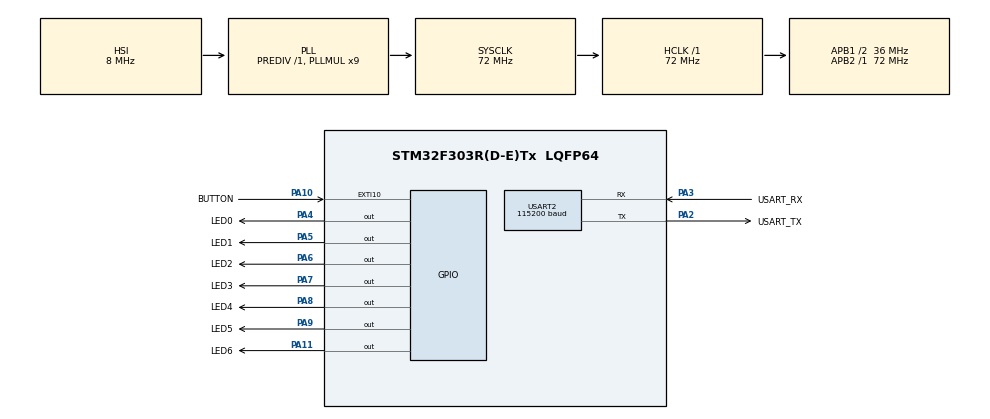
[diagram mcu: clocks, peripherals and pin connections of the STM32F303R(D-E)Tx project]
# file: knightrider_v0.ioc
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Dma.Request0=TIM6_UP
Dma.TIM6_UP.0.Direction=DMA_MEMORY_TO_PERIPH
Dma.TIM6_UP.0.Instance=DMA1_Channel3
Dma.TIM6_UP.0.MemDataAlignment=DMA_MDATAALIGN_WORD
Dma.TIM6_UP.0.MemInc=DMA_MINC_ENABLE
Dma.TIM6_UP.0.Mode=DMA_CIRCULAR
Dma.TIM6_UP.0.PeriphDataAlignment=DMA_PDATAALIGN_WORD
Dma.TIM6_UP.0.PeriphInc=DMA_PINC_DISABLE
Dma.TIM6_UP.0.Priority=DMA_PRIORITY_VERY_HIGH
Mcu.Family=STM32F3
Mcu.Name=STM32F303R(D-E)Tx
Mcu.Package=LQFP64
NVIC.DMA1_Channel3_IRQn=true\:0\:0\:false\:false\:true\:false\:true\:true
NVIC.EXTI15_10_IRQn=true\:0\:0\:false\:false\:true\:true\:true\:true
NVIC.PriorityGroup=NVIC_PRIORITYGROUP_0
NVIC.USART2_IRQn=true\:0\:0\:false\:false\:true\:true\:true\:true
PA0.Mode=SYS_WakeUp0
PA0.Signal=SYS_WKUP1
PA10.GPIO_Label=BUTTON
PA10.GPIO_ModeDefaultEXTI=GPIO_MODE_IT_RISING
PA10.GPIO_PuPd=GPIO_PULLDOWN
PA10.Signal=GPXTI10
PA11.GPIO_Label=LED6
PA11.Signal=GPIO_Output
PA13.GPIO_Label=TMS
PA13.Mode=Serial_Wire
PA13.Signal=SYS_JTMS-SWDIO
PA14.GPIO_Label=TCK
PA14.Mode=Serial_Wire
PA14.Signal=SYS_JTCK-SWCLK
PA2.GPIO_Label=USART_TX
PA2.GPIO_Mode=GPIO_MODE_AF_PP
PA2.GPIO_PuPd=GPIO_NOPULL
PA2.GPIO_Speed=GPIO_SPEED_FREQ_LOW
PA2.Mode=Asynchronous
PA2.Signal=USART2_TX
PA3.GPIO_Label=USART_RX
PA3.GPIO_Mode=GPIO_MODE_AF_PP
PA3.GPIO_PuPd=GPIO_NOPULL
PA3.GPIO_Speed=GPIO_SPEED_FREQ_LOW
PA3.Mode=Asynchronous
PA3.Signal=USART2_RX
PA4.GPIO_Label=LED0
PA4.Signal=GPIO_Output
PA5.GPIO_Label=LED1
PA5.GPIO_Mode=GPIO_MODE_OUTPUT_PP
PA5.GPIO_PuPd=GPIO_NOPULL
PA5.GPIO_Speed=GPIO_SPEED_FREQ_LOW
PA5.Signal=GPIO_Output
PA6.GPIO_Label=LED2
PA6.Signal=GPIO_Output
PA7.GPIO_Label=LED3
PA7.Signal=GPIO_Output
PA8.GPIO_Label=LED4
PA8.Signal=GPIO_Output
PA9.GPIO_Label=LED5
PA9.Signal=GPIO_Output
PB3.GPIO_Label=SWO
PB3.Signal=SYS_JTDO-TRACESWO
PC14-OSC32_IN.Mode=LSE-External-Oscillator
PC14-OSC32_IN.Signal=RCC_OSC32_IN
PC15-OSC32_OUT.Mode=LSE-External-Oscillator
PC15-OSC32_OUT.Signal=RCC_OSC32_OUT
PF0-OSC_IN.Mode=HSE-External-Clock-Source
PF0-OSC_IN.Signal=RCC_OSC_IN
PF1-OSC_OUT.Signal=RCC_OSC_OUT
ProjectManager.HeapSize=0x200
ProjectManager.StackSize=0x400
ProjectManager.TargetToolchain=STM32CubeIDE
RCC.AHBFreq_Value=72000000
RCC.APB1CLKDivider=RCC_HCLK_DIV2
RCC.APB1Freq_Value=36000000
RCC.APB1TimFreq_Value=72000000
RCC.APB2Freq_Value=72000000
RCC.APB2TimFreq_Value=72000000
RCC.CortexFreq_Value=72000000
RCC.HCLKFreq_Value=72000000
RCC.HSE_VALUE=8000000
RCC.HSI_VALUE=8000000
RCC.PLLM=8
RCC.PLLMUL=RCC_PLL_MUL9
RCC.PLLN=336
RCC.PLLP=RCC_PLLP_DIV4
RCC.PLLQ=7
RCC.RCC_PLLsource_Clock_Source_FROM_HSE=RCC_HSE_PREDIV_DIV2
RCC.SYSCLKFreq_VALUE=72000000
RCC.SYSCLKSourceVirtual=RCC_SYSCLKSOURCE_PLLCLK
RCC.USBFreq_Value=72000000
TIM6.AutoReloadPreload=TIM_AUTORELOAD_PRELOAD_ENABLE
TIM6.Period=5
USART2.BaudRate=115200
USART2.VirtualMode-Asynchronous=VM_ASYNC
VP_TIM6_VS_ClockSourceINT.Mode=Enable_Timer
board=NUCLEO-F303RE

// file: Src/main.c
/* USER CODE BEGIN Header */
/**
 ******************************************************************************
 * @file           : main.c
 * @brief          : Main program body
 ******************************************************************************
 * @attention
 *
 * Copyright (c) 2025 STMicroelectronics.
 * All rights reserved.
 *
 * This software is licensed under terms that can be found in the LICENSE file
 * in the root directory of this software component.
 * If no LICENSE file comes with this software, it is provided AS-IS.
 *
 ******************************************************************************
 */
/* USER CODE END Header */
#include "main.h"

/* USER CODE BEGIN Includes */
#include <string.h>
#include <ctype.h>
#include <stdio.h>
#include <stdlib.h>
#include "timer.h"
#include "tokenator.h"
#include "freq_switcher.h"
#include "commander.h"
/* USER CODE END Includes */

/* USER CODE BEGIN PD */
#define mainUART_RECEIVE_BUFFER_SIZE 50 // UART receive buffer size

// comment/uncomment the following line to toggle standby low-power mode usage
// #define USE_BATERRY
/* USER CODE END PD */

TIM_HandleTypeDef htim6;
DMA_HandleTypeDef hdma_tim6_up;

UART_HandleTypeDef huart2;

/* USER CODE BEGIN PV */
static char pcUartReceivedBuffer[mainUART_RECEIVE_BUFFER_SIZE]; // UART 2 receive buffer
static unsigned int uiUartReceivedBufferIndex = 0;
static int iUartReceivedBufferComplete = 0;
/* USER CODE END PV */

void SystemClock_Config(void);
static void MX_GPIO_Init(void);
static void MX_DMA_Init(void);
static void MX_TIM6_Init(void);
static void MX_USART2_UART_Init(void);

/* USER CODE BEGIN 0 */
/**
 * @brief HAL GPIO external interrupt callback
 *
 * @param	GPIO_Pin Pin which interrupted MCU
 */
void HAL_GPIO_EXTI_Callback(uint16_t GPIO_Pin) {
	// check if interrupt comes from button pin
	if (GPIO_Pin == BUTTON_Pin) {
		// update mode
		FREQ_SWITCHER_NextMode();
#ifdef USE_BATERRY
		// if new mode is 0
		if (FREQ_SWITCHER_GetMode() == 0) {
			// enter standby mode
			__HAL_PWR_CLEAR_FLAG(PWR_FLAG_WU);

			HAL_PWR_EnableWakeUpPin(PWR_WAKEUP_PIN1);
			HAL_PWR_EnterSTANDBYMode();
		}
#endif
	}
}

/**
 * @brief HAL UART interrupt callback
 *
 * @param pxHuart	UART instance which interrupted the MCU
 */
void HAL_UART_RxCpltCallback(UART_HandleTypeDef *pxHuart) {
	// check if interrupt comes from UART2
	if (pxHuart->Instance == USART2) {
		// make character lower
		pcUartReceivedBuffer[uiUartReceivedBufferIndex] = (char) tolower(
				pcUartReceivedBuffer[uiUartReceivedBufferIndex]);

		// if newline received
		if (pcUartReceivedBuffer[uiUartReceivedBufferIndex] == '\n') {
			// store end of string to received buffer
			pcUartReceivedBuffer[uiUartReceivedBufferIndex] = '\0';

			// mark buffer as complete
			iUartReceivedBufferComplete = 1;

			// reset buffer iterator
			uiUartReceivedBufferIndex = 0;
		}
		// ignore carriage return
		else if (pcUartReceivedBuffer[uiUartReceivedBufferIndex] != '\r')
			uiUartReceivedBufferIndex++;

		// receive next character
		HAL_UART_Receive_IT(&huart2,
				(uint8_t*) &pcUartReceivedBuffer[uiUartReceivedBufferIndex], 1);
	}
}

/*
 * 	Start help command
 */

/**
 * @brief Help command function
 *
 * @param				Unused
 * @param 				Unused
 * @param pcReply		Help command reply destination
 * @param uiReplySize	Help command reply destination length
 */
static void COMMANDER_CommandHelp(const TOKENATOR_Token[4], unsigned int,
		char *const pcReply, const unsigned int uiReplySize) {
	// copy help
	strncpy(pcReply, "Help: \r\n"
			"commands: \r\n"
			"help:\t\t show this help\r\n"
			"read <variable>:\t read variable value\r\n"
			"set <variable> <value>:\t set variable to value\r\n"
			"restart:\t\t restart loop\r\n"
			"\r\n"
			"Command line is NOT case sensitive \r\n", uiReplySize);
}
/*
 * End help command
 */

/*
 * Start read command
 */

/**
 * @brief Show read command usage
 *
 * @param pcMessage		Additional message which will be copied to pcReply (NULL for none)
 * @param pcReply		Read command usage reply destination
 * @param uiReplySize	Read command usage reply destination length
 */
static void COMMANDER_ReadShowUsage(const char *const pcMessage,
		char *const pcReply, const unsigned int uiReplySize) {
	char pcBuf[500];

	// if no message provided
	if (pcMessage == NULL)
		// setup reply to have zero length
		pcReply[0] = '\0';
	else
		// else copy message to reply
		strncpy(pcReply, pcMessage, uiReplySize);

	// print usage to pcBuf
	snprintf(pcBuf, sizeof(pcBuf), "Usage: 'read <variable-name>' \r\n"
			"Reads variable value \r\n"
			"Available keywords: \r\n"
			"\tall:\t\tAll variables\r\n"

			"\tmode:\t\tCurrent blinking mode\r\n"

			"\tfreq:\t\tCurrent frequency\r\n"
			"\tprescaller:\t\tCurrent mode prescaller"
			"\tperiod:\t\tCurrent mode period"

			"\tmode<mode-id>.freq:\t\tFrequency in mode\r\n"
			"\tmode<mode-id>.prescaller:\t\tPrescaller value in given mode\r\n"
			"\tmode<mode-id>.period:\t\tPeriod value in given mode\r\n"

			"Range of variables:\r\n"
			"mode:\t\t0..%d\r\n",
	freq_switcherMODE_COUNT);

	// append pcBuf to pcReply
	strncat(pcReply, pcBuf, uiReplySize);
}

/**
 * @brief Read command function
 *
 * @param ppcTokens		Read command arguments
 * @param uiTokenCount	Read command argument count
 * @param pcReply		Read command reply destination
 * @param uiReplySize	Read command reply destination size
 */
static void COMMANDER_CommandRead(const TOKENATOR_Token ppcTokens[4],
		const unsigned int uiTokenCount, char *const pcReply,
		const unsigned int uiReplySize) {

	// check if one argument passed
	if (uiTokenCount == 2) {
		// send mode
		if (strcmp(ppcTokens[1], "mode") == 0) {
			snprintf(pcReply, uiReplySize, "Mode: %d\r\n",
					FREQ_SWITCHER_GetMode());
		}
		// send all variables
		else if (strcmp(ppcTokens[1], "all") == 0) {
			// print mode
			snprintf(pcReply, uiReplySize, "Mode: %d\r\n"
					"\r\n", FREQ_SWITCHER_GetMode());

			// iterate over mode configurations
			for (unsigned int uiMode = 0; uiMode < freq_switcherMODE_COUNT;
					uiMode++) {
				char pcBuf[80];

				// read timer configuration
				const TimerConfig_t xTimerCfg = FREQ_SWITCHER_GetConfig(uiMode);

				// print configuration details
				snprintf(pcBuf, sizeof(pcBuf), "Mode %d\r\n"
						"Frequency: %lg\r\n"
						"Prescaller: %u\r\n"
						"Period: %u\r\n"
						"\r\n", uiMode,
						(double) SystemCoreClock
								/ (double) (xTimerCfg.uiPrescaller + 1)
								/ (double) (xTimerCfg.uiPeriod + 1),
						xTimerCfg.uiPrescaller, xTimerCfg.uiPeriod);

				// append configuration details to reply
				strncat(pcReply, pcBuf, uiReplySize);
			}
		}
		// send prescaller
		else if (strcmp(ppcTokens[1], "prescaller") == 0) {
			// receive current configuration
			const TimerConfig_t xTimerCfg = FREQ_SWITCHER_GetConfig(
					FREQ_SWITCHER_GetMode());

			// send prescaller
			snprintf(pcReply, uiReplySize, "Prescaller: %u\r\n",
					xTimerCfg.uiPrescaller);
		}
		// send period
		else if (strcmp(ppcTokens[1], "period") == 0) {
			// receive current configuration
			const TimerConfig_t xTimerCfg = FREQ_SWITCHER_GetConfig(
					FREQ_SWITCHER_GetMode());

			// send period
			snprintf(pcReply, uiReplySize, "Period: %u\r\n",
					xTimerCfg.uiPeriod);
		}
		// send frequency
		else if (strcmp(ppcTokens[1], "freq") == 0) {
			// receive current configuration
			const TimerConfig_t xTimerCfg = FREQ_SWITCHER_GetConfig(
					FREQ_SWITCHER_GetMode());

			// send frequency
			snprintf(pcReply, uiReplySize, "Frequency: %lg\r\n",
					(float) SystemCoreClock
							/ (double) (xTimerCfg.uiPrescaller + 1)
							/ (double) (xTimerCfg.uiPeriod + 1));
		}
		// send settings in mode
		else {
			TOKENATOR_Token ppcModeTokens[3] = { };

			// split additional arguments to tokens
			const unsigned int uiModeTokenCount = TOKENATOR_IntoTokens(
					ppcTokens[1], ppcModeTokens, 3, '_');

			// if user typed mode_<id>.<something>
			if (uiModeTokenCount == 2
					&& strcmp(ppcModeTokens[0], "mode") == 0) {
				char *pcEnd;

				// split mode_<id> to 'mode' '<id>'
				const unsigned int uiMode = (unsigned int) strtol(
						ppcModeTokens[1], &pcEnd, 10);

				// if user typed only mode
				if (pcEnd == ppcModeTokens[1]) {
					// send error message and usage
					COMMANDER_ReadShowUsage("Variable not found\r\n", pcReply,
							uiReplySize);
				}
				// if mode is not out out of bonds
				else if (uiMode < freq_switcherMODE_COUNT) {
					// receive current configuration
					const TimerConfig_t xTimerCfg = FREQ_SWITCHER_GetConfig(
							uiMode);

					TOKENATOR_Token ppcModeTokens[2] = { };

					// split mode_<id>.<something> to 'mode_<id>' and '<something>'
					const unsigned int uiModeTokenCount = TOKENATOR_IntoTokens(
							ppcTokens[1], ppcModeTokens, 2, '.');

					// if user typed 'all' or just 'mode_<id>'
					if (uiModeTokenCount == 1
							|| strcmp(ppcModeTokens[1], "all") == 0) {
						// print all variables
						snprintf(pcReply, uiReplySize, "Frequency: %lg\r\n"
								"Prescaller: %u\r\n"
								"Period: %u\r\n",
								(double) SystemCoreClock
										/ (double) (xTimerCfg.uiPrescaller + 1)
										/ (double) (xTimerCfg.uiPeriod + 1),
								xTimerCfg.uiPrescaller, xTimerCfg.uiPeriod);
					}
					// if user typed 'mode_<id>.freq'
					else if (strcmp(ppcModeTokens[1], "freq") == 0) {
						// print frequency
						snprintf(pcReply, uiReplySize, "Frequency: %lg\r\n",
								(float) SystemCoreClock
										/ (double) (xTimerCfg.uiPrescaller + 1)
										/ (double) (xTimerCfg.uiPeriod + 1));
					}
					// if user typed 'mode_<id>.period'
					else if (strcmp(ppcModeTokens[1], "period") == 0) {
						// print period
						snprintf(pcReply, uiReplySize, "Period: %u\r\n",
								xTimerCfg.uiPeriod);
					}
					// if user typed 'mode_<id>.prescaller'
					else if (strcmp(ppcModeTokens[1], "prescaller") == 0) {
						// send prescaller
						snprintf(pcReply, uiReplySize, "Prescaller: %u\r\n",
								xTimerCfg.uiPrescaller);
					}
					// if user typed anything else
					else {
						// print error message and usage
						COMMANDER_ReadShowUsage("Variable not found\r\n",
								pcReply, uiReplySize);
					}
				}
			}
			// send error message and usage
			else {
				COMMANDER_ReadShowUsage("Variable not found\r\n", pcReply,
						uiReplySize);
			}
		}
	}
	// send usage if no arguments provided
	else {
		COMMANDER_ReadShowUsage(NULL, pcReply, uiReplySize);
	}
}
/*
 * End read command
 */

/*
 * Start restart command
 */
/**
 * @brief Restart command
 *
 * @param 				Unused
 * @param uiTokenCount	Restart command argument count (used for detection: no arguments received/some arguments received => print help)
 * @param pcReply		Restart command usage reply destination
 * @param uiReplySize	Restart command usage reply destination size
 */
static void COMMANDER_CommandRestart(const TOKENATOR_Token[4],
		unsigned int uiTokenCount, char *const pcReply,
		const unsigned int uiReplySize) {
	// check if no parameters provided
	if (uiTokenCount == 1) {
		// restart timer/counter
		FREQ_SWITCHER_SetMode(FREQ_SWITCHER_GetMode());
		strncpy(pcReply, "Restarted tim6\r\n", uiReplySize);
	}
	// show usage
	else {
		strncpy(pcReply,
				"Usage: 'restart'\r\n"
						"Restarts tim6 and starts blinking with LEDs from beginning.\r\n",
				uiReplySize);
	}
}
/*
 * End restart command
 */

/*
 * Start set command
 */

/**
 * @brief Show set command usage
 *
 * @param pcMessage		Additional message for user
 * @param pcReply		Command set reply destination
 * @param uiReplySize	Command set reply destination size
 */
static void COMMANDER_SetShowUsage(const char *const pcMessage,
		char *const pcReply, const unsigned int uiReplySize) {
	char pcBuf[550];

	// if no message provided
	if (pcMessage == NULL)
		// mark string as empty
		pcReply[0] = '\0';
	else
		// copy message
		strncpy(pcReply, pcMessage, uiReplySize);

	// print usage
	snprintf(pcBuf, sizeof(pcBuf),
			"Usage: 'set <variable-name> <new-value>' \r\n"
					"Sets variable to new value \r\n"
					"Available keywords: \r\n"

					"\tmode <new-mode>:\t\tUpdate current blinking mode to new mode\r\n"

					"\tprescaller <new-value>:\t\tUpdate current mode prescaller to new value\r\n"
					"\tperiod <new-value>:\t\tUpdate current mode period to new value\r\n"

					"\tmode<mode-id>.prescaller <new-value>:\t\tUpdate prescaller value in given mode to new value\r\n"
					"\tmode<mode-id>.period <new-value>:\t\tUpdate period value in given mode to new value\r\n"

					"Range of variables:\r\n"
					"mode:\t\t0..%d\r\n"
					"prescaller:\t\t0..=%d\r\n"
					"period:\t\t0..=%d\r\n",
			freq_switcherMODE_COUNT,
			timerMAX_PRESCALLER,
			timerMAX_PERIOD);

	// append usage to reply
	strncat(pcReply, pcBuf, uiReplySize);
}

/**
 * @brief Set command
 *
 * @param ppcTokens		Set command arguments
 * @param uiTokenCount	Set command argument count
 * @param pcReply		Set command reply destination
 * @param uiReplySize	Set command reply destination size
 */
static void COMMANDER_CommandSet(const TOKENATOR_Token ppcTokens[4],
		const unsigned int uiTokenCount, char *const pcReply,
		const unsigned int uiReplySize) {

	// check if user typed '<variable-name> <new-value>'
	if (uiTokenCount == 3) {
		// if user typed 'mode <new-mode>'
		if (strcmp(ppcTokens[1], "mode") == 0) {
			char *pcEnd = NULL;

			// get user input
			const long lInput = strtol(ppcTokens[2], &pcEnd, 10);

			// if user typed value in allowed range
			if (lInput
					>= 0&&
					pcEnd[0] == '\0' && (unsigned int) lInput <= freq_switcherMODE_COUNT) {
				// update mode
				FREQ_SWITCHER_SetMode((unsigned int) lInput);

				// send reply
				strncpy(pcReply, "Mode updated successfully\r\n", uiReplySize);
			} else {
				// send error message
				snprintf(pcReply, uiReplySize,
						"Mode out of bonds (0 <= mode < %d)\r\n",
						freq_switcherMODE_COUNT);
			}
		}
		// if user typed 'prescaller <new-value>'
		else if (strcmp(ppcTokens[1], "prescaller") == 0) {
			char *pcEnd = NULL;

			// get user input
			const long lInput = strtol(ppcTokens[2], &pcEnd, 10);

			// if input is in allowed range
			if (lInput >= 0&& pcEnd[0] == '\0'
			&& (unsigned int) lInput <= timerMAX_PRESCALLER) {
				// obtain current mode configuration
				TimerConfig_t xTimerCfg = FREQ_SWITCHER_GetConfig(
						FREQ_SWITCHER_GetMode());

				// update current mode configuration
				xTimerCfg.uiPrescaller = (unsigned int) lInput;
				FREQ_SWITCHER_SetConfig(FREQ_SWITCHER_GetMode(), xTimerCfg);

				// send reply
				strncpy(pcReply, "Prescaller updated successfully\r\n",
						uiReplySize);
			} else {
				// send error message
				snprintf(pcReply, uiReplySize,
						"Prescaller out of bonds (0 <= mode < %d)\r\n",
						timerMAX_PRESCALLER);
			}
		}
		// if user typed 'period <new-value>'
		else if (strcmp(ppcTokens[1], "period") == 0) {
			char *pcEnd = NULL;

			// read user input
			const long lInput = strtol(ppcTokens[2], &pcEnd, 10);

			// if input is in allowed range
			if (lInput >= 0&& pcEnd[0] == '\0'
			&& (unsigned int) lInput < timerMAX_PRESCALLER) {
				// get current configuration
				TimerConfig_t xTimerCfg = FREQ_SWITCHER_GetConfig(
						FREQ_SWITCHER_GetMode());

				// update current configuration
				xTimerCfg.uiPeriod = (unsigned int) lInput;
				FREQ_SWITCHER_SetConfig(FREQ_SWITCHER_GetMode(), xTimerCfg);

				// send reply
				strncpy(pcReply, "Period updated successfully\r\n",
						uiReplySize);
			} else {
				// send error message
				snprintf(pcReply, uiReplySize,
						"Period out of bonds (0 <= mode < %d)\r\n",
						timerMAX_PERIOD);
			}
		} else {
			TOKENATOR_Token ppcModeTokens[2] = { };

			// split variable name to tokens by '_'
			const unsigned int uiModeTokenCount = TOKENATOR_IntoTokens(
					ppcTokens[1], ppcModeTokens, 2, '_');

			// if variable name is 'mode_<something>'
			if (uiModeTokenCount == 2
					&& strcmp(ppcModeTokens[0], "mode") == 0) {
				char *pcEnd;

				// get mode id from variable name
				const unsigned int uiMode = (unsigned int) strtol(
						ppcModeTokens[1], &pcEnd, 10);

				// if mode is not out of bonds
				if (uiMode < freq_switcherMODE_COUNT
						&& pcEnd != ppcModeTokens[1]) {
					TOKENATOR_Token ppcModeTokens[2] = { };

					// extract '<something>' from 'mode_<mode-id>.<something>'
					const unsigned int uiModeTokenCount = TOKENATOR_IntoTokens(
							ppcTokens[1], ppcModeTokens, 2, '.');

					// if succeeded extraction '<something>' from 'mode_<mode-id>.<something>'
					if (uiModeTokenCount == 2) {
						// if user typed 'mode<mode-id>.period <new-period>'
						if (strcmp(ppcModeTokens[1], "period") == 0) {
							char *pcEnd = NULL;

							// obtain new period value
							const long lInput = strtol(ppcTokens[2], &pcEnd,
									10);

							// check if period value is not out of bonds
							if (lInput >= 0&& pcEnd[0] == '\0'
							&& (unsigned int) lInput <= timerMAX_PERIOD) {
								// get mode configuration
								TimerConfig_t xTimerCfg =
										FREQ_SWITCHER_GetConfig(uiMode);

								// update mode configuration
								xTimerCfg.uiPeriod = (unsigned int) lInput;
								FREQ_SWITCHER_SetConfig(uiMode, xTimerCfg);

								// send reply
								strncpy(pcReply,
										"Period updated successfully\r\n",
										uiReplySize);
							} else {
								// send error message
								snprintf(pcReply, uiReplySize,
										"Period out of bonds (0 <= mode < %d)\r\n",
										timerMAX_PERIOD);
							}
						}
						// if user typed 'mode<mode-id>.prescaller <new-period>'
						else if (strcmp(ppcModeTokens[1], "prescaller") == 0) {
							char *pcEnd = NULL;

							// extract new prescaller value
							const long lInput = strtol(ppcTokens[2], &pcEnd,
									10);

							// check if new prescaller value is not out of bonds
							if (lInput
									>= 0&& pcEnd[0] == '\0'
									&& (unsigned int) lInput <= timerMAX_PRESCALLER) {
								// get mode configuration
								TimerConfig_t xTimerCfg =
										FREQ_SWITCHER_GetConfig(uiMode);

								// update mode configuration
								xTimerCfg.uiPrescaller = (unsigned int) lInput;
								FREQ_SWITCHER_SetConfig(uiMode, xTimerCfg);

								// send reply
								strncpy(pcReply,
										"Period updated successfully\r\n",
										uiReplySize);
							} else {
								snprintf(pcReply, uiReplySize,
										"Period out of bonds (0 <= mode < %d)\r\n",
										timerMAX_PERIOD);
							}
						}
						// no matching variable found
						else {
							// send error message
							COMMANDER_SetShowUsage("Variable not found\r\n",
									pcReply, uiReplySize);
						}
					}
					// if extraction '<something>' from 'mode_<mode-id>.<something>' failed
					else {
						COMMANDER_SetShowUsage("Variable not found\r\n",
								pcReply, uiReplySize);
					}
				}
				// if extraction '<something>' from 'mode_<mode-id>.<something>' failed
				else {
					char pcBuf[50];

					snprintf(pcBuf, uiReplySize,
							"Error: Mode index out of bonds (allowed range: 0 <= freq index < %d)\r\n",
							freq_switcherMODE_COUNT);
					COMMANDER_SetShowUsage(pcBuf, pcReply, uiReplySize);
				}
			}
			// check if user did not type '<variable-name> <new-value>'
			else {
				// send error message
				COMMANDER_SetShowUsage("Variable not found\r\n", pcReply,
						uiReplySize);
			}
		}
	} else {
		COMMANDER_SetShowUsage(NULL, pcReply, uiReplySize);
	}
}
/*
 * End set command
 */

/* USER CODE END 0 */

int main(void)
{

  /* MCU Configuration--------------------------------------------------------*/

  /* Reset of all peripherals, Initializes the Flash interface and the Systick. */
  HAL_Init();

  /* Configure the system clock */
  SystemClock_Config();

  /* Initialize all configured peripherals */
  MX_GPIO_Init();
  MX_DMA_Init();
  MX_TIM6_Init();
  MX_USART2_UART_Init();
  /* USER CODE BEGIN 2 */
	// set blinking mode to 0
	FREQ_SWITCHER_SetMode(0);

	// receive characters from uart2
	HAL_UART_Receive_IT(&huart2, (uint8_t*) &pcUartReceivedBuffer[0], 1);

	// Disable SysTick interrupt
	// When enabled, this causes signal flickering
	HAL_SuspendTick();
  /* USER CODE END 2 */

  /* Infinite loop */
  /* USER CODE BEGIN WHILE */
	while (1) {
		// check if uart2 buffer is complete
		if (iUartReceivedBufferComplete) {
			char pcCommand[mainUART_RECEIVE_BUFFER_SIZE];
			char pcReply[600];

			// copy received buffer (what if another character arrived...)
			strncpy(pcCommand, pcUartReceivedBuffer,
			mainUART_RECEIVE_BUFFER_SIZE);

			// reset status of uart2 buffer
			iUartReceivedBufferComplete = 0;

			static const COMMANDER_CommandTable pxCommands = { {
					COMMANDER_CommandHelp, "help" }, { COMMANDER_CommandSet,
					"set" }, { COMMANDER_CommandRead, "read", }, {
					COMMANDER_CommandRestart, "restart" }, {
					(COMMANDER_Func) NULL, "" } };

			// run command
			COMMANDER_RunCommand(pcCommand, pcReply, sizeof(pcReply),
					pxCommands);

			// send command reply
			HAL_UART_Transmit_IT(&huart2, (uint8_t*) pcReply,
					(unsigned short int) strlen(pcReply));

			HAL_PWR_EnterSLEEPMode(PWR_LOWPOWERREGULATOR_ON,
			PWR_SLEEPENTRY_WFI);
		}
    /* USER CODE END WHILE */

	}
}

void SystemClock_Config(void)
{
  RCC_OscInitTypeDef RCC_OscInitStruct = {0};
  RCC_ClkInitTypeDef RCC_ClkInitStruct = {0};
  RCC_PeriphCLKInitTypeDef PeriphClkInit = {0};

  /** Initializes the RCC Oscillators according to the specified parameters
  * in the RCC_OscInitTypeDef structure.
  */
  RCC_OscInitStruct.OscillatorType = RCC_OSCILLATORTYPE_HSI;
  RCC_OscInitStruct.HSIState = RCC_HSI_ON;
  RCC_OscInitStruct.HSICalibrationValue = RCC_HSICALIBRATION_DEFAULT;
  RCC_OscInitStruct.PLL.PLLState = RCC_PLL_ON;
  RCC_OscInitStruct.PLL.PLLSource = RCC_PLLSOURCE_HSI;
  RCC_OscInitStruct.PLL.PLLMUL = RCC_PLL_MUL9;
  RCC_OscInitStruct.PLL.PREDIV = RCC_PREDIV_DIV1;
  if (HAL_RCC_OscConfig(&RCC_OscInitStruct) != HAL_OK)
  {
    Error_Handler();
  }

  /** Initializes the CPU, AHB and APB buses clocks
  */
  RCC_ClkInitStruct.ClockType = RCC_CLOCKTYPE_HCLK|RCC_CLOCKTYPE_SYSCLK
                              |RCC_CLOCKTYPE_PCLK1|RCC_CLOCKTYPE_PCLK2;
  RCC_ClkInitStruct.SYSCLKSource = RCC_SYSCLKSOURCE_PLLCLK;
  RCC_ClkInitStruct.AHBCLKDivider = RCC_SYSCLK_DIV1;
  RCC_ClkInitStruct.APB1CLKDivider = RCC_HCLK_DIV2;
  RCC_ClkInitStruct.APB2CLKDivider = RCC_HCLK_DIV1;

  if (HAL_RCC_ClockConfig(&RCC_ClkInitStruct, FLASH_LATENCY_2) != HAL_OK)
  {
    Error_Handler();
  }
  PeriphClkInit.PeriphClockSelection = RCC_PERIPHCLK_USART2;
  PeriphClkInit.Usart2ClockSelection = RCC_USART2CLKSOURCE_PCLK1;
  if (HAL_RCCEx_PeriphCLKConfig(&PeriphClkInit) != HAL_OK)
  {
    Error_Handler();
  }
}

static void MX_TIM6_Init(void)
{

  TIM_MasterConfigTypeDef sMasterConfig = {0};

  htim6.Instance = TIM6;
  htim6.Init.Prescaler = 0;
  htim6.Init.CounterMode = TIM_COUNTERMODE_UP;
  htim6.Init.Period = 5;
  htim6.Init.AutoReloadPreload = TIM_AUTORELOAD_PRELOAD_ENABLE;
  if (HAL_TIM_Base_Init(&htim6) != HAL_OK)
  {
    Error_Handler();
  }
  sMasterConfig.MasterOutputTrigger = TIM_TRGO_RESET;
  sMasterConfig.MasterSlaveMode = TIM_MASTERSLAVEMODE_DISABLE;
  if (HAL_TIMEx_MasterConfigSynchronization(&htim6, &sMasterConfig) != HAL_OK)
  {
    Error_Handler();
  }

}

static void MX_USART2_UART_Init(void)
{

  huart2.Instance = USART2;
  huart2.Init.BaudRate = 115200;
  huart2.Init.WordLength = UART_WORDLENGTH_8B;
  huart2.Init.StopBits = UART_STOPBITS_1;
  huart2.Init.Parity = UART_PARITY_NONE;
  huart2.Init.Mode = UART_MODE_TX_RX;
  huart2.Init.HwFlowCtl = UART_HWCONTROL_NONE;
  huart2.Init.OverSampling = UART_OVERSAMPLING_16;
  huart2.Init.OneBitSampling = UART_ONE_BIT_SAMPLE_DISABLE;
  huart2.AdvancedInit.AdvFeatureInit = UART_ADVFEATURE_NO_INIT;
  if (HAL_UART_Init(&huart2) != HAL_OK)
  {
    Error_Handler();
  }

}

static void MX_DMA_Init(void)
{

  /* DMA controller clock enable */
  __HAL_RCC_DMA1_CLK_ENABLE();

  /* DMA interrupt init */
  /* DMA1_Channel3_IRQn interrupt configuration */
  HAL_NVIC_SetPriority(DMA1_Channel3_IRQn, 0, 0);
  HAL_NVIC_EnableIRQ(DMA1_Channel3_IRQn);

}

static void MX_GPIO_Init(void)
{
  GPIO_InitTypeDef GPIO_InitStruct = {0};

  /* GPIO Ports Clock Enable */
  __HAL_RCC_GPIOC_CLK_ENABLE();
  __HAL_RCC_GPIOF_CLK_ENABLE();
  __HAL_RCC_GPIOA_CLK_ENABLE();
  __HAL_RCC_GPIOB_CLK_ENABLE();

  /*Configure GPIO pin Output Level */
  HAL_GPIO_WritePin(GPIOA, LED0_Pin|LED1_Pin|LED2_Pin|LED3_Pin
                          |LED4_Pin|LED5_Pin|LED6_Pin, GPIO_PIN_RESET);

  /*Configure GPIO pins : LED0_Pin LED1_Pin LED2_Pin LED3_Pin
                           LED4_Pin LED5_Pin LED6_Pin */
  GPIO_InitStruct.Pin = LED0_Pin|LED1_Pin|LED2_Pin|LED3_Pin
                          |LED4_Pin|LED5_Pin|LED6_Pin;
  GPIO_InitStruct.Mode = GPIO_MODE_OUTPUT_PP;
  GPIO_InitStruct.Pull = GPIO_NOPULL;
  GPIO_InitStruct.Speed = GPIO_SPEED_FREQ_LOW;
  HAL_GPIO_Init(GPIOA, &GPIO_InitStruct);

  /*Configure GPIO pin : BUTTON_Pin */
  GPIO_InitStruct.Pin = BUTTON_Pin;
  GPIO_InitStruct.Mode = GPIO_MODE_IT_RISING;
  GPIO_InitStruct.Pull = GPIO_PULLDOWN;
  HAL_GPIO_Init(BUTTON_GPIO_Port, &GPIO_InitStruct);

  /* EXTI interrupt init*/
  HAL_NVIC_SetPriority(EXTI15_10_IRQn, 0, 0);
  HAL_NVIC_EnableIRQ(EXTI15_10_IRQn);

}

void Error_Handler(void)
{
	__disable_irq();
	while (1) {
	}
}
